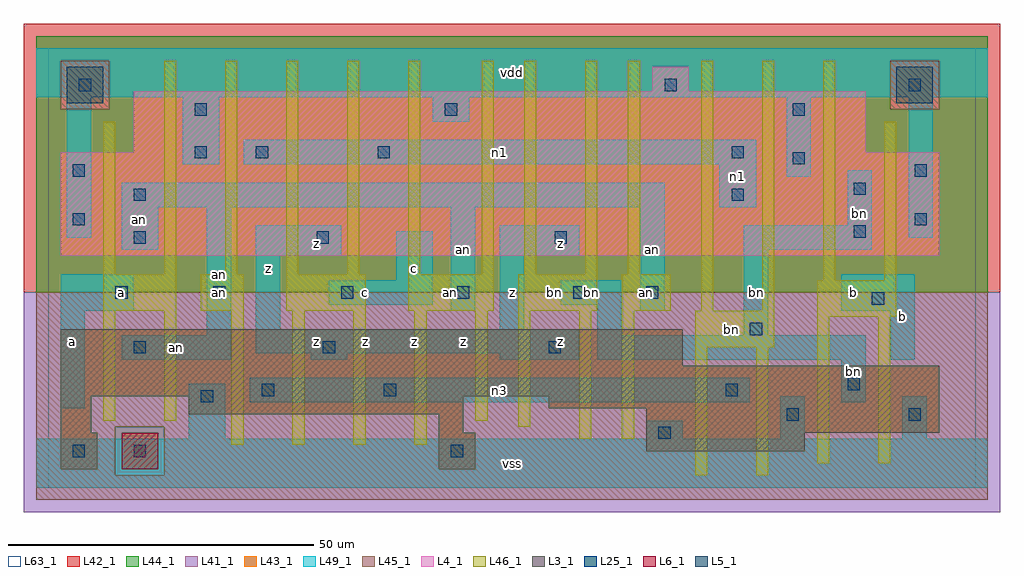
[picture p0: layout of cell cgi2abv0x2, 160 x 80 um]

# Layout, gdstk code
import gdstk
lib = gdstk.Library(unit=1e-6, precision=1e-09)
def R(c, l, rs):  # rectangles x0, y0, x1, y1
    for r in rs: c.add(gdstk.rectangle(r[:2], r[2:], *l))
def A(c, l, x, y, w, h, nx, ny, dx, dy):  # array of equal rectangles
    R(c, l, [(x+i*dx, y+j*dy, x+i*dx+w, y+j*dy+h) for i in range(nx) for j in range(ny)])
L3_1 = (3, 1)
L4_1 = (4, 1)
L5_1 = (5, 1)
L6_1 = (6, 1)
L25_1 = (25, 1)
L41_1 = (41, 1)
L42_1 = (42, 1)
L43_1 = (43, 1)
L44_1 = (44, 1)
L45_1 = (45, 1)
L46_1 = (46, 1)
L49_1 = (49, 1)
L63_1 = (63, 1)

cgi2abv0x2 = lib.new_cell('cgi2abv0x2')
R(cgi2abv0x2, L3_1, [(2,3,8,9), (64,3,70,9), (98,6,124,9), (2,9,7,15), (64,9,68,12), (98,9,146,13), (23,12,68,15), (82,13,146,15), (2,15,146,20), (2,20,104,26)])
R(cgi2abv0x2, L4_1, [(2,38,146,55), (14,55,134,65), (99,65,105,69)])
R(cgi2abv0x2, L5_1, [(3,63,9,69), (139,63,145,69)])
R(cgi2abv0x2, L6_1, [(12,3,18,9), (12,3,18,9)])
A(cgi2abv0x2, L25_1, 48, 31, 2, 2, 3, 1, 19, 0)
R(cgi2abv0x2, L25_1, [(4,5,6,7), (14,5,16,7), (66,5,68,7), (100,8,102,10), (121,11,123,13), (141,11,143,13), (25,14,27,16), (35,15,37,17), (55,15,57,17), (111,15,113,17), (131,16,133,18), (14,22,16,24), (45,22,47,24), (82,22,84,24), (115,25,117,27), (135,30,137,32), (11,31,13,33), (27,31,29,33), (98,31,100,33), (14,40,16,42), (44,40,46,42), (83,40,85,42), (132,41,134,43), (4,43,6,45), (142,43,144,45), (14,47,16,49), (112,47,114,49), (132,48,134,50), (4,51,6,53), (142,51,144,53), (122,53,124,55), (24,54,26,56), (34,54,36,56), (54,54,56,56), (112,54,114,56), (24,61,26,63), (65,61,67,63), (122,61,124,63), (5,65,7,67), (101,65,103,67), (141,65,143,67)])
R(cgi2abv0x2, L41_1, [(-4,-4,156,32)])
R(cgi2abv0x2, L42_1, [(-4,32,156,76)])
R(cgi2abv0x2, L43_1, [(2,3,8,9), (12,3,18,9), (64,3,70,9), (98,6,124,9), (2,9,7,15), (64,9,68,12), (98,9,146,13), (23,12,68,15), (82,13,146,15), (2,15,146,20), (2,20,104,26), (2,38,146,55), (14,55,134,65), (3,63,9,69), (139,63,145,69), (99,65,105,69)])
R(cgi2abv0x2, L44_1, [(11,2,19,10), (-2,32,154,62), (-2,62,2,70), (10,62,138,70), (146,62,154,70), (-2,70,154,74)])
R(cgi2abv0x2, L45_1, [(-2,-2,154,2), (-2,2,11,10), (19,2,154,10), (-2,10,154,32), (2,62,10,70), (138,62,146,70)])
A(cgi2abv0x2, L46_1, 30, 7, 2, 22, 4, 1, 10, 0)
A(cgi2abv0x2, L46_1, 19, 35, 2, 35, 5, 1, 10, 0)
R(cgi2abv0x2, L46_1, [(106,2,108,23), (116,2,118,23), (126,4,128,28), (136,4,138,28), (87,8,89,29), (94,8,96,29), (77,10,79,29), (9,11,11,29), (19,11,21,29), (70,11,72,29), (106,23,119,29), (126,28,139,34), (9,29,21,35), (25,29,32,35), (39,29,52,35), (59,29,73,35), (77,29,90,35), (94,29,102,35), (107,29,109,70), (117,29,119,70), (127,34,129,70), (137,34,139,60), (9,35,11,60), (71,35,73,70), (78,35,80,70), (88,35,90,70), (95,35,97,70)])
R(cgi2abv0x2, L49_1, [(-2,0,154,8), (23,8,29,17), (98,8,104,11), (120,8,124,15), (140,8,144,15), (2,13,6,29), (33,14,115,18), (130,14,134,21), (12,21,30,25), (43,21,49,22), (74,21,87,22), (90,21,134,25), (138,21,142,29), (34,22,87,26), (26,25,30,46), (90,25,94,30), (114,25,118,39), (34,26,38,38), (74,26,78,38), (2,29,14,35), (66,29,70,46), (97,29,101,46), (130,29,142,35), (46,30,63,34), (84,30,94,34), (57,34,63,42), (34,38,48,43), (74,38,87,43), (12,39,18,46), (114,39,135,43), (3,41,7,64), (141,41,145,64), (131,43,135,52), (12,46,101,50), (110,46,116,53), (121,51,125,64), (22,53,28,64), (32,53,116,57), (63,60,69,64), (-2,64,154,72)])
R(cgi2abv0x2, L63_1, [(0,0,152,72)])
cgi2abv0x2.add(gdstk.Label('an', (28,32), layer=49, texttype=1))
cgi2abv0x2.add(gdstk.Label('an', (66,32), layer=46, texttype=1))
cgi2abv0x2.add(gdstk.Label('an', (98,32), layer=49, texttype=1))
cgi2abv0x2.add(gdstk.Label('bn', (83,32), layer=46, texttype=1))
cgi2abv0x2.add(gdstk.Label('bn', (112,26), layer=46, texttype=1))
cgi2abv0x2.add(gdstk.Label('a', (4,24), layer=49, texttype=1))
cgi2abv0x2.add(gdstk.Label('a', (12,32), layer=49, texttype=1))
cgi2abv0x2.add(gdstk.Label('an', (15,44), layer=49, texttype=1))
cgi2abv0x2.add(gdstk.Label('an', (21,23), layer=49, texttype=1))
cgi2abv0x2.add(gdstk.Label('z', (52,24), layer=49, texttype=1))
cgi2abv0x2.add(gdstk.Label('z', (44,24), layer=49, texttype=1))
cgi2abv0x2.add(gdstk.Label('c', (52,32), layer=49, texttype=1))
cgi2abv0x2.add(gdstk.Label('z', (44,40), layer=49, texttype=1))
cgi2abv0x2.add(gdstk.Label('z', (36,36), layer=49, texttype=1))
cgi2abv0x2.add(gdstk.Label('an', (28,35), layer=49, texttype=1))
cgi2abv0x2.add(gdstk.Label('vss', (76,4), layer=49, texttype=1))
cgi2abv0x2.add(gdstk.Label('z', (60,24), layer=49, texttype=1))
cgi2abv0x2.add(gdstk.Label('z', (84,24), layer=49, texttype=1))
cgi2abv0x2.add(gdstk.Label('z', (68,24), layer=49, texttype=1))
cgi2abv0x2.add(gdstk.Label('z', (76,32), layer=49, texttype=1))
cgi2abv0x2.add(gdstk.Label('c', (60,36), layer=49, texttype=1))
cgi2abv0x2.add(gdstk.Label('z', (84,40), layer=49, texttype=1))
cgi2abv0x2.add(gdstk.Label('an', (68,39), layer=49, texttype=1))
cgi2abv0x2.add(gdstk.Label('vdd', (76,68), layer=49, texttype=1))
cgi2abv0x2.add(gdstk.Label('n3', (74,16), layer=49, texttype=1))
cgi2abv0x2.add(gdstk.Label('bn', (89,32), layer=49, texttype=1))
cgi2abv0x2.add(gdstk.Label('an', (99,39), layer=49, texttype=1))
cgi2abv0x2.add(gdstk.Label('bn', (116,32), layer=49, texttype=1))
cgi2abv0x2.add(gdstk.Label('n1', (113,51), layer=49, texttype=1))
cgi2abv0x2.add(gdstk.Label('n1', (74,55), layer=49, texttype=1))
cgi2abv0x2.add(gdstk.Label('bn', (132,19), layer=49, texttype=1))
cgi2abv0x2.add(gdstk.Label('b', (140,28), layer=49, texttype=1))
cgi2abv0x2.add(gdstk.Label('b', (132,32), layer=49, texttype=1))
cgi2abv0x2.add(gdstk.Label('bn', (133,45), layer=49, texttype=1))

lib.write_gds('cgi2abv0x2.gds')
